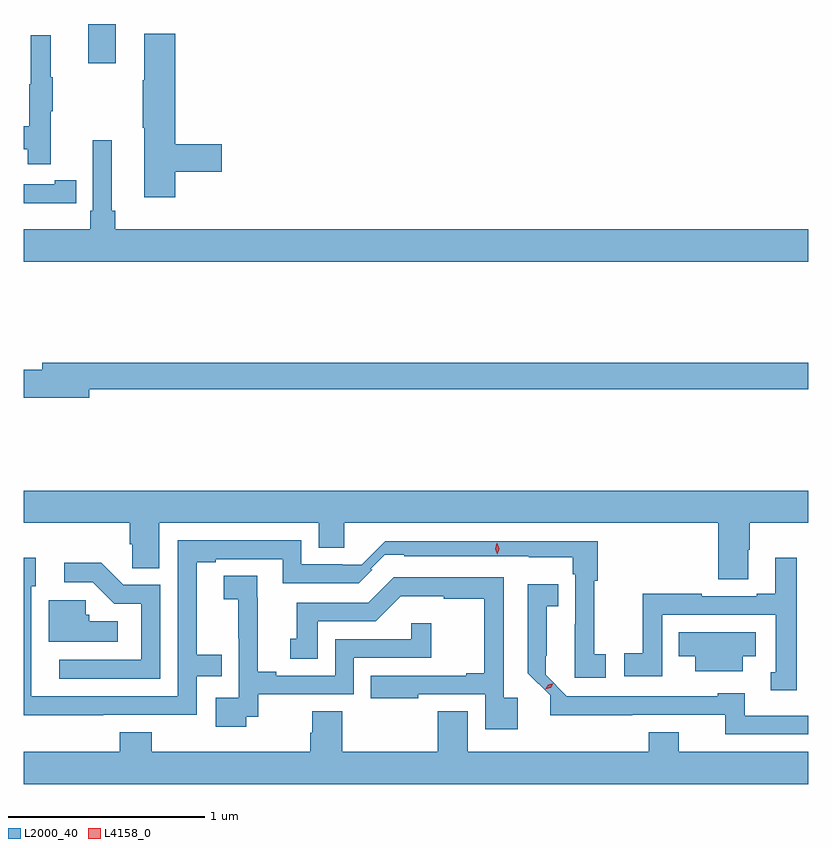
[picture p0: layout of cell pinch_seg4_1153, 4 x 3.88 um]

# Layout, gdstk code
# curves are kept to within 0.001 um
import gdstk
lib = gdstk.Library(unit=1e-6, precision=1e-09)
def R(c, l, rs):  # rectangles x0, y0, x1, y1
    for r in rs: c.add(gdstk.rectangle(r[:2], r[2:], *l))
def P(c, l, *ps):  # polygons
    for p in ps: c.add(gdstk.Polygon(p, *l))
L2000_40 = (2000, 40)
L4158_0 = (4158, 0)

pinch_seg4_1153 = lib.new_cell('pinch_seg4_1153')
R(pinch_seg4_1153, L2000_40, [(514.703,792.504,514.843,792.704)])
P(pinch_seg4_1153, L2000_40, [(515.147,791.95),(515.383,791.95),(515.383,792.092),(515.147,792.092),(515.147,792.655),(514.988,792.655),(514.988,792.416),(514.981,792.416),(514.981,792.175),(514.988,792.175),(514.988,791.82),(515.147,791.82)],
  [(514.511,792.259),(514.522,792.259),(514.522,792.433),(514.511,792.433),(514.511,792.646),(514.408,792.646),(514.408,792.396),(514.401,792.396),(514.401,792.182),(514.374,792.182),(514.374,792.066),(514.393,792.066),(514.393,791.988),(514.511,791.988)],
  [(518.374,791.656),(514.841,791.656),(514.841,791.752),(514.822,791.752),(514.822,792.112),(514.725,792.112),(514.725,791.752),(514.712,791.752),(514.712,791.656),(514.374,791.656),(514.374,791.492),(518.374,791.492)],
  [(514.532,791.79),(514.64,791.79),(514.64,791.906),(514.532,791.906),(514.532,791.886),(514.374,791.886),(514.374,791.789),(514.532,791.789)],
  [(514.708,790.84),(518.374,790.84),(518.374,790.976),(514.469,790.976),(514.469,790.94),(514.374,790.94),(514.374,790.798),(514.708,790.798)],
  [(518.068,790.022),(518.076,790.022),(518.076,790.16),(518.374,790.16),(518.374,790.324),(514.374,790.324),(514.374,790.16),(514.913,790.16),(514.913,790.051),(514.926,790.051),(514.926,789.928),(515.065,789.928),(515.065,790.16),(515.879,790.16),(515.879,790.033),(516.007,790.033),(516.007,790.16),(517.916,790.16),(517.916,789.871),(518.068,789.871)],
  [(514.778,789.18),(515.256,789.18),(515.256,789.378),(515.384,789.378),(515.384,789.487),(515.257,789.487),(515.257,789.96),(515.353,789.96),(515.353,789.975),(515.694,789.975),(515.694,789.852),(516.082,789.852),(516.15,789.92),(516.144,789.926),(516.215,789.997),(516.315,789.997),(516.315,789.989),(516.948,789.989),(516.948,789.984),(517.173,789.984),(517.173,789.897),(517.185,789.897),(517.184,789.369),(517.342,789.369),(517.342,789.489),(517.284,789.489),(517.284,789.865),(517.301,789.865),(517.301,790.065),(516.218,790.065),(516.098,789.945),(515.998,789.945),(515.998,789.948),(515.79,789.948),(515.79,790.071),(515.16,790.071),(515.16,789.276),(514.413,789.276),(514.413,789.837),(514.435,789.837),(514.435,789.982),(514.374,789.982),(514.374,789.179)],
  [(518.317,789.982),(518.207,789.982),(518.207,789.799),(518.111,789.799),(518.111,789.786),(517.832,789.786),(517.832,789.799),(517.531,789.799),(517.531,789.494),(517.437,789.494),(517.437,789.378),(517.629,789.378),(517.629,789.69),(518.208,789.69),(518.208,789.399),(518.183,789.399),(518.183,789.305),(518.317,789.305)],
  [(515.07,789.843),(514.881,789.843),(514.768,789.956),(514.581,789.956),(514.581,789.858),(514.725,789.858),(514.836,789.747),(514.974,789.747),(514.974,789.462),(514.554,789.462),(514.554,789.366),(515.07,789.366)],
  [(515.508,789.171),(515.57,789.171),(515.57,789.285),(516.057,789.285),(516.057,789.471),(516.452,789.471),(516.452,789.649),(516.351,789.649),(516.351,789.567),(515.961,789.567),(515.961,789.381),(515.662,789.381),(515.662,789.401),(515.566,789.401),(515.566,789.779),(515.564,789.779),(515.564,789.89),(515.394,789.89),(515.394,789.769),(515.468,789.769),(515.468,789.571),(515.469,789.571),(515.469,789.267),(515.352,789.267),(515.352,789.12),(515.508,789.12)],
  [(516.892,789.269),(516.822,789.269),(516.822,789.882),(516.26,789.882),(516.131,789.753),(515.765,789.753),(515.765,789.57),(515.732,789.57),(515.732,789.466),(515.872,789.466),(515.872,789.657),(516.168,789.657),(516.296,789.785),(516.515,789.785),(516.515,789.774),(516.721,789.774),(516.721,789.394),(516.629,789.394),(516.629,789.381),(516.142,789.381),(516.142,789.266),(516.385,789.266),(516.385,789.285),(516.726,789.285),(516.726,789.108),(516.892,789.108)],
  [(518.374,789.177),(518.05,789.177),(518.05,789.292),(517.914,789.292),(517.914,789.276),(517.143,789.276),(517.035,789.384),(517.035,789.481),(517.042,789.481),(517.042,789.734),(517.1,789.734),(517.1,789.847),(516.945,789.847),(516.945,789.394),(517.059,789.28),(517.059,789.179),(517.951,789.18),(517.951,789.081),(518.374,789.081)],
  [(514.852,789.658),(514.708,789.658),(514.708,789.69),(514.689,789.69),(514.689,789.765),(514.502,789.765),(514.502,789.554),(514.852,789.554)],
  [(518.041,789.479),(518.107,789.479),(518.107,789.601),(517.714,789.601),(517.714,789.479),(517.799,789.479),(517.799,789.404),(518.041,789.404)],
  [(518.374,788.992),(517.714,788.992),(517.714,789.091),(517.562,789.091),(517.562,788.992),(516.637,788.992),(516.637,789.2),(516.485,789.2),(516.485,788.992),(515.999,788.992),(515.999,789.2),(515.846,789.2),(515.846,789.09),(515.834,789.09),(515.834,788.992),(515.027,788.992),(515.027,789.091),(514.862,789.091),(514.862,788.992),(514.374,788.992),(514.374,788.828),(518.374,788.828)])
P(pinch_seg4_1153, L4158_0, [(517.034,789.31),(517.034,789.31),(517.048,789.334),(517.075,789.342),(517.075,789.342),(517.075,789.342),(517.061,789.318),(517.034,789.31)],
  [(516.788,790),(516.788,790),(516.778,790.028),(516.787,790.056),(516.788,790.056),(516.788,790.056),(516.798,790.028),(516.788,790)])

lib.write_gds('pinch_seg4_1153.gds')
